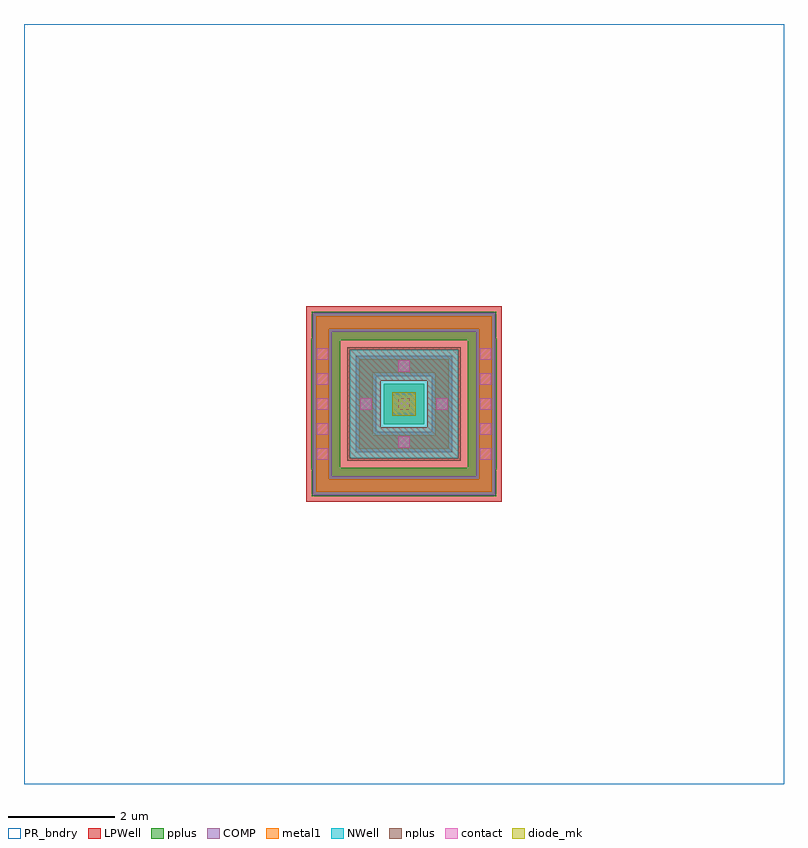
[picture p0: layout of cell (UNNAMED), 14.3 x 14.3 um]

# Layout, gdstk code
import gdstk
lib = gdstk.Library(unit=1e-6, precision=1e-09)
def R(c, l, rs):  # rectangles x0, y0, x1, y1
    for r in rs: c.add(gdstk.rectangle(r[:2], r[2:], *l))
def A(c, l, x, y, w, h, nx, ny, dx, dy):  # array of equal rectangles
    R(c, l, [(x+i*dx, y+j*dy, x+i*dx+w, y+j*dy+h) for i in range(nx) for j in range(ny)])
PR_bndry = (0, 0)
NWell = (21, 0)
COMP = (22, 0)
pplus = (31, 0)
nplus = (32, 0)
contact = (33, 0)
metal1 = (34, 0)
diode_mk = (115, 5)
LPWell = (204, 0)

c__unnamed_ = lib.new_cell('(UNNAMED)')
R(c__unnamed_, PR_bndry, [(-7.15,-7.15,7.15,7.15)])
R(c__unnamed_, NWell, [(-1.025,-1.025,1.025,1.025)])
R(c__unnamed_, COMP, [(-1.715,-1.715,1.715,-1.355), (-1.715,-1.355,-1.355,1.355), (1.355,-1.355,1.715,1.355), (-0.905,-0.905,0.905,-0.525), (-0.905,-0.525,-0.525,0.525), (0.525,-0.525,0.905,0.525), (-0.225,-0.225,0.225,0.225), (-0.905,0.525,0.905,0.905), (-1.715,1.355,1.715,1.715)])
R(c__unnamed_, pplus, [(-1.735,-1.735,1.735,-1.23), (-1.745,-1.23,1.745,-1.195), (-1.745,-1.195,-1.195,1.195), (1.195,-1.195,1.745,1.195), (-0.385,-0.385,0.385,0.385), (-1.745,1.195,1.745,1.23), (-1.735,1.23,1.735,1.735)])
R(c__unnamed_, nplus, [(-1.065,-1.065,1.065,-0.435), (-1.065,-0.435,-0.435,0.435), (0.435,-0.435,1.065,0.435), (-1.065,0.435,1.065,1.065)])
A(c__unnamed_, contact, -1.645, -1.05, 0.22, 0.22, 1, 5, 0, 0.47)
A(c__unnamed_, contact, 1.425, -1.05, 0.22, 0.22, 1, 5, 0, 0.47)
A(c__unnamed_, contact, -0.825, -0.11, 0.22, 0.22, 3, 1, 0.715, 0)
R(c__unnamed_, contact, [(-0.11,-0.825,0.11,-0.605), (-0.11,0.605,0.11,0.825)])
R(c__unnamed_, metal1, [(-1.65,-1.65,1.65,-1.42), (-1.65,-1.42,-1.42,1.42), (1.42,-1.42,1.65,1.42), (-0.84,-0.84,0.84,-0.59), (-0.84,-0.59,-0.59,0.59), (0.59,-0.59,0.84,0.59), (-0.215,-0.16,0.215,0.16), (-0.84,0.59,0.84,0.84), (-1.65,1.42,1.65,1.65)])
R(c__unnamed_, diode_mk, [(-0.225,-0.225,0.225,0.225)])
R(c__unnamed_, LPWell, [(-1.835,-1.835,1.835,-1.025), (-1.835,-1.025,-1.025,1.025), (1.025,-1.025,1.835,1.025), (-1.835,1.025,1.835,1.835)])

lib.write_gds('_UNNAMED_.gds')
